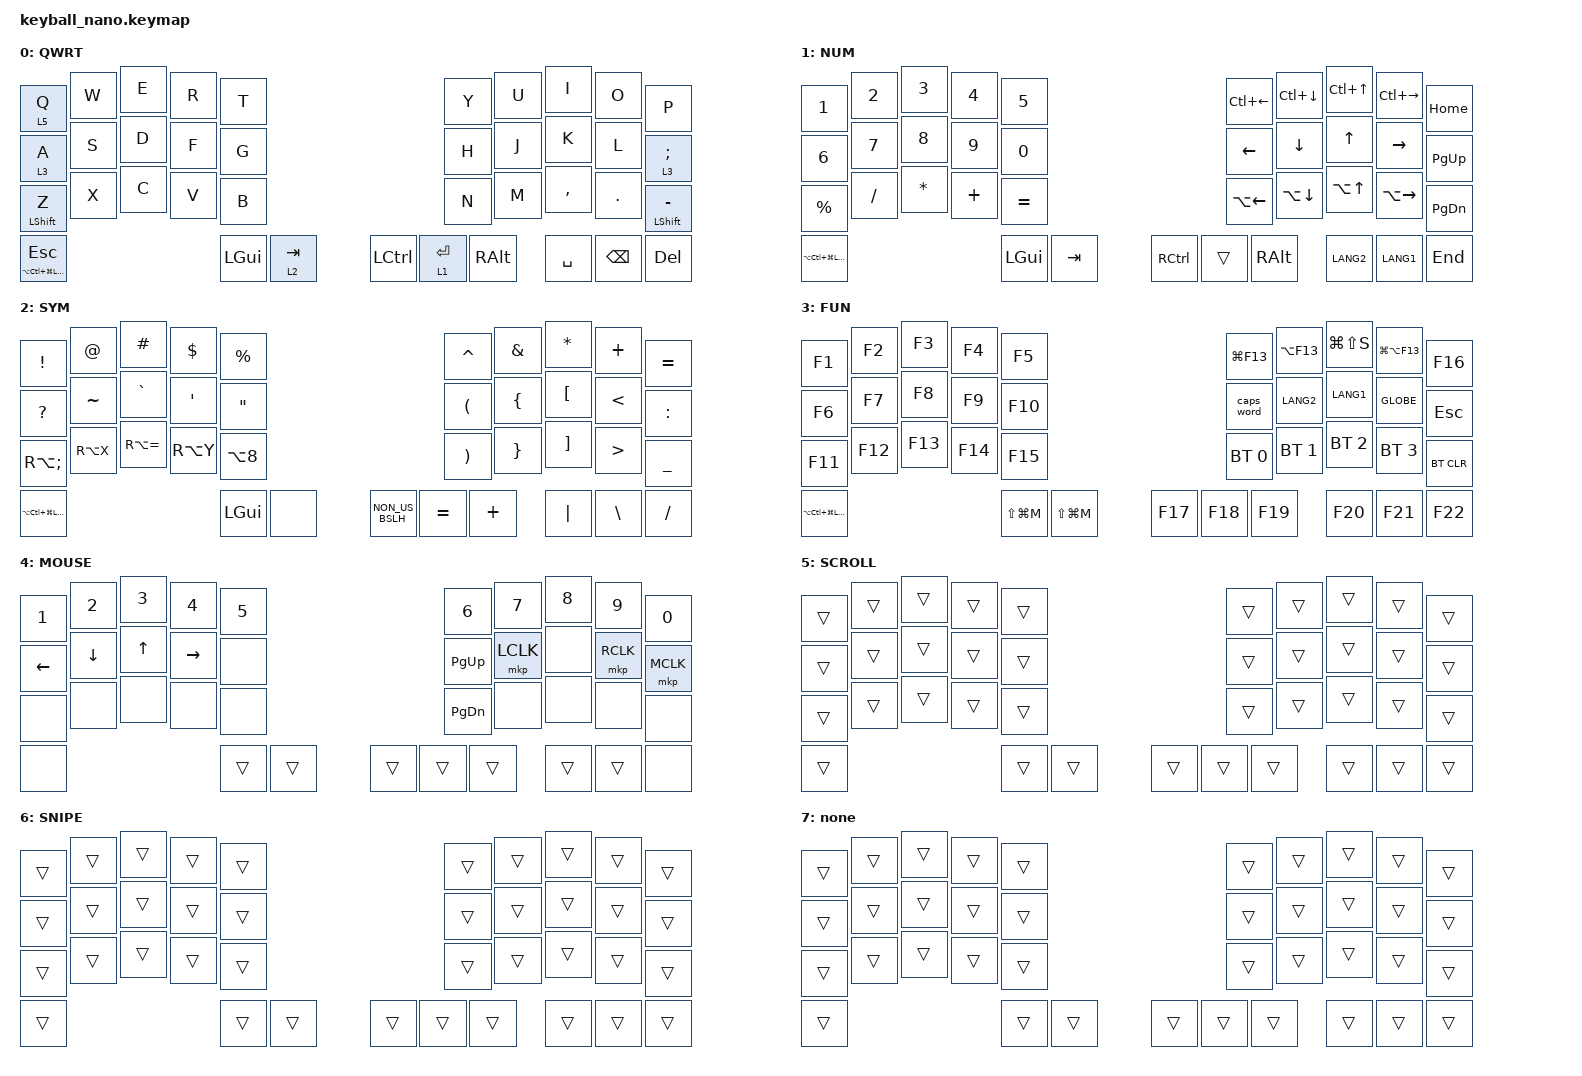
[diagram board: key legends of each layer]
#define DEFAULT 0
#define NUM     1
#define SYM     2
#define FUN     3
#define MOUSE   4
#define SCROLL  5
#define SNIPE   6

#include <behaviors/mouse_keys.dtsi>
#include <dt-bindings/zmk/mouse.h>
#include <behaviors.dtsi>
#include <dt-bindings/zmk/bt.h>
#include <dt-bindings/zmk/keys.h>

&lt {
    tapping-term-ms = <240>;
    flavor = "balanced";
    quick-tap-ms = <150>;
};

&mt {
    tapping-term-ms = <200>;
    flavor = "tap-preferred";
    quick-tap-ms = <150>;
};

&caps_word { continue-list = <UNDERSCORE MINUS>; };

/ {
    // custom shift using mod-morph

    behaviors {
        cmqus: comma_question {
            compatible = "zmk,behavior-mod-morph";
            label = "COMMA_QUESTION";
            #binding-cells = <0>;
            bindings = <&kp COMMA>, <&kp QUESTION>;

            mods = <(MOD_LSFT|MOD_RSFT)>;
        };

        dtsmi: dot_semi {
            compatible = "zmk,behavior-mod-morph";
            label = "DOT_SEMI";
            #binding-cells = <0>;
            bindings = <&kp DOT>, <&kp SEMI>;

            mods = <(MOD_LSFT|MOD_RSFT)>;
        };
    };

    combos {
        compatible = "zmk,combos";

        CLICK {
            bindings = <&mkp MB1>;
            key-positions = <0 1>;
        };

        RIGHT_CLICK {
            bindings = <&mkp MB2>;
            key-positions = <10 11>;
        };

        MIDDLE_CLICK {
            bindings = <&mkp MB3>;
            key-positions = <20 21>;
        };

        CAPSLOCK_KEY {
            bindings = <&caps_word>;
            key-positions = <27 26>;
        };

        ENGLISH_KEY {
            bindings = <&kp F10>;
            key-positions = <6 7>;
        };

        TOGGLE_INPUT {
            bindings = <&kp LA(GRAVE)>;
            key-positions = <16 17>;
        };

        BACKSPACE_KEY {
            bindings = <&kp BACKSPACE>;
            key-positions = <8 9>;
        };

        ENTER_KEY {
            bindings = <&kp ENTER>;
            key-positions = <18 19>;
        };

        DELETE_KEY {
            bindings = <&kp DELETE>;
            key-positions = <28 29>;
        };

        SWITCH_ON {
            bindings = <&to 0>;
            key-positions = <30 38>;
            layers = <7 1>;
        };

        SWITCH_OFF {
            bindings = <&to 7>;
            key-positions = <30 38>;
            layers = <0>;
        };
    };

    keymap {
        compatible = "zmk,keymap";

        default_layer {
            label = "QWRT";
            bindings = <
&lt 5 Q                            &kp W  &kp E  &kp R  &kp T                           &kp Y        &kp U     &kp I      &kp O     &kp P
&lt 3 A                            &kp S  &kp D  &kp F  &kp G                           &kp H        &kp J     &kp K      &kp L     &lt 3 SEMICOLON
&mt LEFT_SHIFT Z                   &kp X  &kp C  &kp V  &kp B                           &kp N        &kp M     &kp COMMA  &kp DOT   &mt LEFT_SHIFT MINUS
&mt LA(LC(LG(LEFT_SHIFT))) ESCAPE                       &kp LGUI  &lt 2 TAB  &kp LCTRL  &lt 1 ENTER  &kp RALT  &kp SPACE  &kp BSPC  &kp DELETE
            >;
        };

        number_layer {
            label = "NUM";
            bindings = <
&kp NUMBER_1                &kp NUMBER_2  &kp NUMBER_3  &kp NUMBER_4  &kp NUMBER_5                      &kp LC(LEFT)        &kp LC(DOWN_ARROW)  &kp LC(UP_ARROW)  &kp LC(RIGHT_ARROW)  &kp HOME
&kp N6                      &kp N7        &kp N8        &kp N9        &kp N0                            &kp LEFT_ARROW      &kp DOWN_ARROW      &kp UP_ARROW      &kp RIGHT_ARROW      &kp PG_UP
&kp PERCENT                 &kp FSLH      &kp ASTERISK  &kp PLUS      &kp EQUAL                         &kp LA(LEFT_ARROW)  &kp LA(DOWN_ARROW)  &kp LA(UP_ARROW)  &kp LA(RIGHT_ARROW)  &kp PAGE_DOWN
&kp LA(LC(LG(LEFT_SHIFT)))                                            &kp LEFT_GUI  &kp TAB  &kp RCTRL  &trans              &kp RIGHT_ALT       &kp LANG2         &kp LANG1            &kp END
            >;
        };

        symbol_layer {
            label = "SYM";
            bindings = <
&kp EXCLAMATION             &kp AT_SIGN  &kp HASH       &kp DOLLAR        &kp PERCENT                                &kp CARET              &kp AMPERSAND    &kp ASTERISK       &kp PLUS          &kp EQUAL
&kp QUESTION                &kp TILDE    &kp GRAVE      &kp SINGLE_QUOTE  &kp DOUBLE_QUOTES                          &kp LEFT_PARENTHESIS   &kp LEFT_BRACE   &kp LEFT_BRACKET   &kp LESS_THAN     &kp COLON
&kp RA(SEMICOLON)           &kp RA(X)    &kp RA(EQUAL)  &kp RA(Y)         &kp LA(N8)                                 &kp RIGHT_PARENTHESIS  &kp RIGHT_BRACE  &kp RIGHT_BRACKET  &kp GREATER_THAN  &kp UNDERSCORE
&kp LA(LC(LG(LEFT_SHIFT)))                                                &kp LGUI           &none  &kp NON_US_BSLH  &kp EQUAL              &kp PLUS         &kp PIPE           &kp BSLH          &kp SLASH
            >;
        };

        function_layer {
            label = "FUN";
            bindings = <
&kp F1                      &kp F2   &kp F3   &kp F4   &kp F5                                 &kp LG(F13)   &kp LA(F13)   &kp LG(LS(S))  &kp LG(LA(F13))  &kp F16
&kp F6                      &kp F7   &kp F8   &kp F9   &kp F10                                &caps_word    &kp LANG2     &kp LANG1      &kp GLOBE        &kp ESC
&kp F11                     &kp F12  &kp F13  &kp F14  &kp F15                                &bt BT_SEL 0  &bt BT_SEL 1  &bt BT_SEL 2   &bt BT_SEL 3     &bt BT_CLR
&kp LA(LC(LG(LEFT_SHIFT)))                             &kp LS(LG(M))  &kp LS(LG(M))  &kp F17  &kp F18       &kp F19       &kp F20        &kp F21          &kp F22
            >;
        };

        mouse_layer {
            label = "MOUSE";
            bindings = <
&kp N1          &kp N2          &kp N3        &kp N4     &kp N5                  &kp N6         &kp N7     &kp N8  &kp N9     &kp N0
&kp LEFT_ARROW  &kp DOWN_ARROW  &kp UP_ARROW  &kp RIGHT  &none                   &kp PAGE_UP    &mkp LCLK  &none   &mkp RCLK  &mkp MCLK
&none           &none           &none         &none      &none                   &kp PAGE_DOWN  &none      &none   &none      &none
&none                                                    &trans  &trans  &trans  &trans         &trans     &trans  &trans     &none
            >;
        };

        scroll_layer {
            label = "SCROLL";
            bindings = <
&trans  &trans  &trans  &trans  &trans                  &trans  &trans  &trans  &trans  &trans
&trans  &trans  &trans  &trans  &trans                  &trans  &trans  &trans  &trans  &trans
&trans  &trans  &trans  &trans  &trans                  &trans  &trans  &trans  &trans  &trans
&trans                          &trans  &trans  &trans  &trans  &trans  &trans  &trans  &trans
            >;
        };

        snipe_layer {
            label = "SNIPE";
            bindings = <
&trans  &trans  &trans  &trans  &trans                  &trans  &trans  &trans  &trans  &trans
&trans  &trans  &trans  &trans  &trans                  &trans  &trans  &trans  &trans  &trans
&trans  &trans  &trans  &trans  &trans                  &trans  &trans  &trans  &trans  &trans
&trans                          &trans  &trans  &trans  &trans  &trans  &trans  &trans  &trans
            >;
        };

        none {
            bindings = <
&trans  &trans  &trans  &trans  &trans                  &trans  &trans  &trans  &trans  &trans
&trans  &trans  &trans  &trans  &trans                  &trans  &trans  &trans  &trans  &trans
&trans  &trans  &trans  &trans  &trans                  &trans  &trans  &trans  &trans  &trans
&trans                          &trans  &trans  &trans  &trans  &trans  &trans  &trans  &trans
            >;
        };
    };
};
